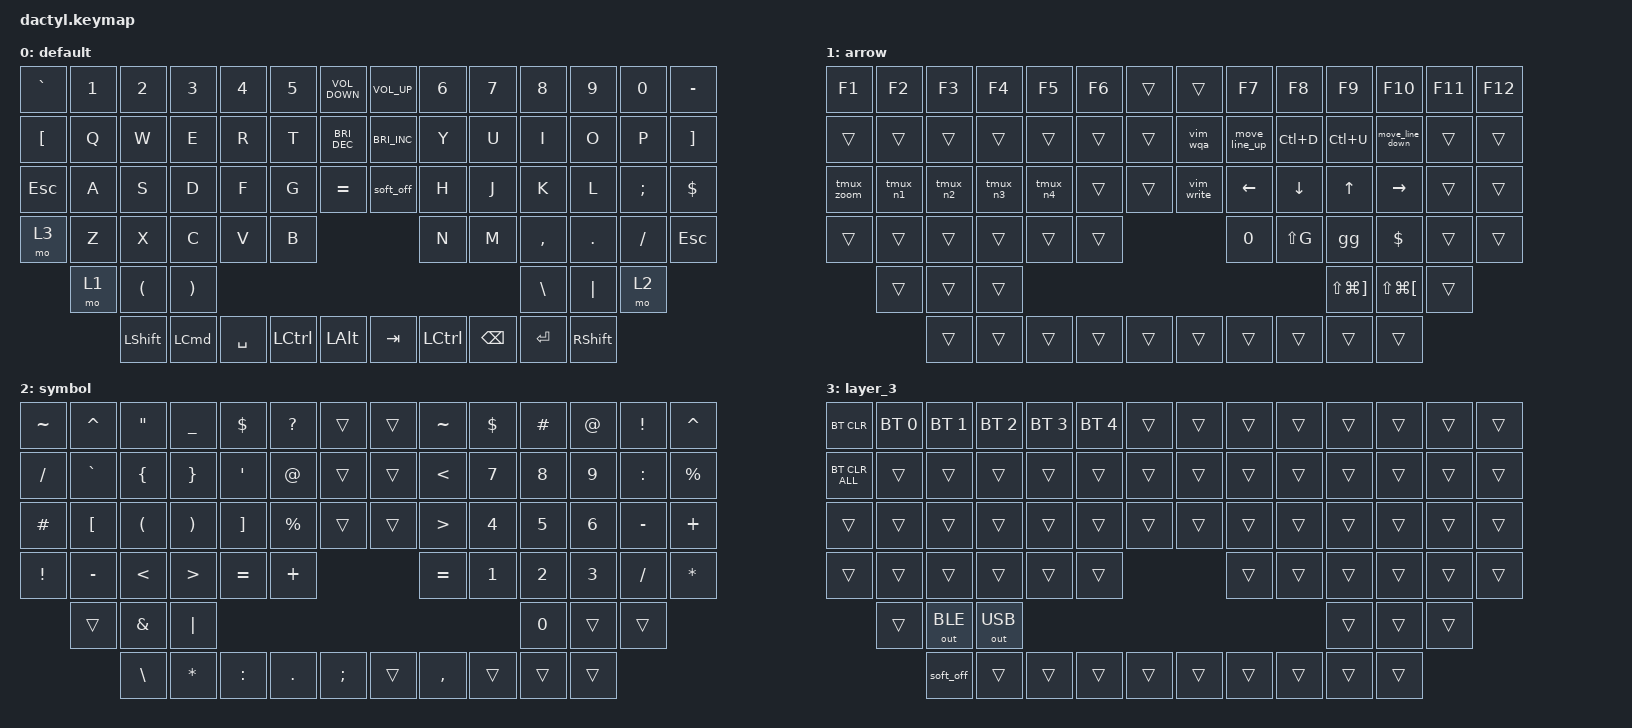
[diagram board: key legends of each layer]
#define ZMK_POINTING_DEFAULT_MOVE_VAL 1500  // default: 600
#define ZMK_POINTING_DEFAULT_SCRL_VAL 20    // default: 10

#include <dt-bindings/zmk/mouse.h>
#include <behaviors.dtsi>
#include <dt-bindings/zmk/bt.h>
#include <dt-bindings/zmk/keys.h>
#include <dt-bindings/zmk/outputs.h>

#define DEFAULT 0
#define LOWER 1
#define RAISE 2
#define ADJUST 3

/ {
    macros {
        tmux_n1: tmux_n1 {
            compatible = "zmk,behavior-macro";
            #binding-cells = <0>;
            bindings = <&kp LC(A) &kp N1>;
        };

        tmux_n2: tmux_n2 {
            compatible = "zmk,behavior-macro";
            #binding-cells = <0>;
            bindings = <&kp LC(A) &kp N2>;
        };

        tmux_n3: tmux_n3 {
            compatible = "zmk,behavior-macro";
            #binding-cells = <0>;
            bindings = <&kp LC(A) &kp N3>;
        };

        tmux_n4: tmux_n4 {
            compatible = "zmk,behavior-macro";
            #binding-cells = <0>;
            bindings = <&kp LC(A) &kp N4>;
        };

        vim_write: vim_write {
            compatible = "zmk,behavior-macro";
            #binding-cells = <0>;
            bindings = <&kp ESC &kp COLON &kp W &kp ENTER>;
        };

        gg: gg {
            compatible = "zmk,behavior-macro";
            #binding-cells = <0>;
            bindings = <&kp G &kp G>;
        };

        move_line_up: move_line_up {
            compatible = "zmk,behavior-macro";
            #binding-cells = <0>;
            bindings = <&kp V &kp LS(U) &kp ESCAPE>;
            label = "MOVE_LINE_UP";
        };

        move_line_down: move_line_down {
            compatible = "zmk,behavior-macro";
            #binding-cells = <0>;
            bindings = <&kp V &kp LS(D) &kp ESCAPE>;
            label = "MOVE_LINE_DOWN";
        };

        vim_wqa: vim_wqa {
            compatible = "zmk,behavior-macro";
            #binding-cells = <0>;
            bindings = <&kp ESC &kp COLON &kp W &kp Q &kp A &kp ENTER>;
            label = "VIM_WQA";
        };

        tmux_zoom: tmux_zoom {
            compatible = "zmk,behavior-macro";
            #binding-cells = <0>;
            bindings = <&kp LC(A) &kp Z>;
            label = "TMUX_ZOOM";
        };
    };

    keymap {
        compatible = "zmk,keymap";

        default {
            bindings = <
&kp GRAVE         &kp N1  &kp N2                &kp N3                 &kp N4     &kp N5            &kp C_VOLUME_DOWN       &kp C_VOLUME_UP       &kp N6            &kp N7         &kp N8         &kp N9           &kp N0    &kp MINUS
&kp LEFT_BRACKET  &kp Q   &kp W                 &kp E                  &kp R      &kp T             &kp C_BRIGHTNESS_DEC    &kp C_BRIGHTNESS_INC  &kp Y             &kp U          &kp I          &kp O            &kp P     &kp RIGHT_BRACKET
&kp ESCAPE        &kp A   &kp S                 &kp D                  &kp F      &kp G             &kp EQUAL               &soft_off             &kp H             &kp J          &kp K          &kp L            &kp SEMI  &kp DOLLAR
&mo 3             &kp Z   &kp X                 &kp C                  &kp V      &kp B                                                           &kp N             &kp M          &kp COMMA      &kp DOT          &kp FSLH  &kp ESCAPE
                  &mo 1   &kp LEFT_PARENTHESIS  &kp RIGHT_PARENTHESIS                                                                                                              &kp BACKSLASH  &kp PIPE         &mo 2
                          &kp LSHIFT            &kp LEFT_COMMAND       &kp SPACE  &kp LEFT_CONTROL  &kp LEFT_ALT            &kp TAB               &kp LEFT_CONTROL  &kp BACKSPACE  &kp ENTER      &kp RIGHT_SHIFT
            >;
        };

        arrow {
            bindings = <
&kp F1      &kp F2    &kp F3    &kp F4    &kp F5    &kp F6  &trans    &trans      &kp F7         &kp F8          &kp F9                     &kp F10                   &kp F11  &kp F12
&trans      &trans    &trans    &trans    &trans    &trans  &trans    &vim_wqa    &move_line_up  &kp LC(D)       &kp LC(U)                  &move_line_down           &trans   &trans
&tmux_zoom  &tmux_n1  &tmux_n2  &tmux_n3  &tmux_n4  &trans  &trans    &vim_write  &kp LEFT       &kp DOWN_ARROW  &kp UP_ARROW               &kp RIGHT                 &trans   &trans
&trans      &trans    &trans    &trans    &trans    &trans                        &kp N0         &kp LS(G)       &gg                        &kp DOLLAR                &trans   &trans
            &trans    &trans    &trans                                                                           &kp LS(LG(RIGHT_BRACKET))  &kp LS(LG(LEFT_BRACKET))  &trans
                      &trans    &trans    &trans    &trans  &trans    &trans      &trans         &trans          &trans                     &trans
            >;
        };

        symbol {
            bindings = <
&kp TILDE  &kp CARET         &kp DOUBLE_QUOTES     &kp UNDERSCORE         &kp DOLLAR         &kp QUESTION  &trans      &trans  &kp TILDE         &kp DOLLAR  &kp HASH  &kp AT  &kp EXCL   &kp CARET
&kp SLASH  &kp GRAVE         &kp LEFT_BRACE        &kp RIGHT_BRACE        &kp SINGLE_QUOTE   &kp AT        &trans      &trans  &kp LESS_THAN     &kp N7      &kp N8    &kp N9  &kp COLON  &kp PERCENT
&kp POUND  &kp LEFT_BRACKET  &kp LEFT_PARENTHESIS  &kp RIGHT_PARENTHESIS  &kp RIGHT_BRACKET  &kp PERCENT   &trans      &trans  &kp GREATER_THAN  &kp N4      &kp N5    &kp N6  &kp MINUS  &kp PLUS
&kp EXCL   &kp MINUS         &kp LESS_THAN         &kp GREATER_THAN       &kp EQUAL          &kp PLUS                          &kp EQUAL         &kp N1      &kp N2    &kp N3  &kp SLASH  &kp ASTRK
           &trans            &kp AMPERSAND         &kp PIPE                                                                                                  &kp N0    &trans  &trans
                             &kp BACKSLASH         &kp ASTERISK           &kp COLON          &kp PERIOD    &kp SEMI    &trans  &kp COMMA         &trans      &trans    &trans
            >;
        };

        layer_3 {
            bindings = <
&bt BT_CLR      &bt BT_SEL 0  &bt BT_SEL 1  &bt BT_SEL 2  &bt BT_SEL 3  &bt BT_SEL 4  &trans    &trans  &trans  &trans  &trans  &trans  &trans  &trans
&bt BT_CLR_ALL  &trans        &trans        &trans        &trans        &trans        &trans    &trans  &trans  &trans  &trans  &trans  &trans  &trans
&trans          &trans        &trans        &trans        &trans        &trans        &trans    &trans  &trans  &trans  &trans  &trans  &trans  &trans
&trans          &trans        &trans        &trans        &trans        &trans                          &trans  &trans  &trans  &trans  &trans  &trans
                &trans        &out OUT_BLE  &out OUT_USB                                                                &trans  &trans  &trans
                              &soft_off     &trans        &trans        &trans        &trans    &trans  &trans  &trans  &trans  &trans
            >;
        };
    };
};
